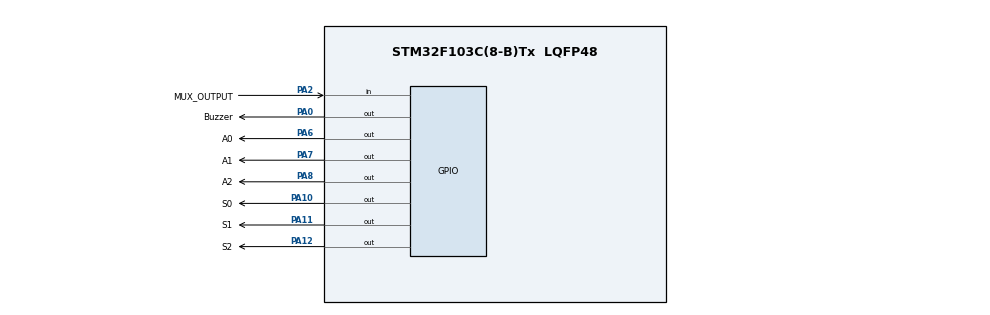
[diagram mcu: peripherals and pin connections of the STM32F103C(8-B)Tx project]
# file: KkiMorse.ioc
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Mcu.Family=STM32F1
Mcu.Name=STM32F103C(8-B)Tx
Mcu.Package=LQFP48
NVIC.PriorityGroup=NVIC_PRIORITYGROUP_4
PA0-WKUP.GPIO_Label=Buzzer
PA0-WKUP.Signal=GPIO_Output
PA10.GPIO_Label=S0
PA10.Signal=GPIO_Output
PA11.GPIO_Label=S1
PA11.Signal=GPIO_Output
PA12.GPIO_Label=S2
PA12.Signal=GPIO_Output
PA2.GPIO_Label=MUX_OUTPUT
PA2.Signal=GPIO_Input
PA6.GPIO_Label=A0
PA6.Signal=GPIO_Output
PA7.GPIO_Label=A1
PA7.Signal=GPIO_Output
PA8.GPIO_Label=A2
PA8.Signal=GPIO_Output
ProjectManager.HeapSize=0x200
ProjectManager.StackSize=0x400
ProjectManager.TargetToolchain=STM32CubeIDE
RCC.APB1Freq_Value=8000000
RCC.APB2Freq_Value=8000000
board=custom

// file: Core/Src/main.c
/* USER CODE BEGIN Header */
/**
  ******************************************************************************
  * @file           : main.c
  * @brief          : Main program body
  ******************************************************************************
  * @attention
  *
  * Copyright (c) 2024 STMicroelectronics.
  * All rights reserved.
  *
  * This software is licensed under terms that can be found in the LICENSE file
  * in the root directory of this software component.
  * If no LICENSE file comes with this software, it is provided AS-IS.
  *
  ******************************************************************************
  */
/* USER CODE END Header */
#include "main.h"

/* USER CODE BEGIN PD */

#define BUFFERLENGTH 256

#define NCOLUMNS 6
#define NLINES 6

#define ENTERKEYBINDING 35
#define SPACEKEYBINDING 32 //TODO

#define SLEEPDURATION 5

#define MORSEUNITDURATION 300 // IN MS

/* USER CODE END PD */

/* USER CODE BEGIN PV */

char buffer[BUFFERLENGTH]; // buffer for holding the letters

/* USER CODE END PV */

void SystemClock_Config(void);
static void MX_GPIO_Init(void);

/* USER CODE BEGIN 0 */

int read_mux_output()
{
	// returns value from MUX OUTPUT PIN
	return HAL_GPIO_ReadPin(GPIOA, MUX_OUTPUT_Pin);
}

int setColumn(int columnNumber)
{
	// sets the column where a signal is sent through the demux
	// should change A0, A1, A2 state
	if (columnNumber < 0 || columnNumber > 5) //column selected is out of bounds
		return -1;

	HAL_GPIO_WritePin(GPIOA, A0_Pin, columnNumber % 2);
	HAL_GPIO_WritePin(GPIOA, A1_Pin, columnNumber >> 1 % 2);
	HAL_GPIO_WritePin(GPIOA, A2_Pin, columnNumber >> 2 % 2);

	return 0;
}

int setLine(int lineNumber)
{
	// sets the listened line where a signal is read through the MUX
	// should affect S0, S1, S2 state
	if (lineNumber < 0 || lineNumber > 5) //line selected is out of bounds
		return -1;

	HAL_GPIO_WritePin(GPIOA, S0_Pin, lineNumber % 2);
	HAL_GPIO_WritePin(GPIOA, S1_Pin, lineNumber >> 1 % 2);
	HAL_GPIO_WritePin(GPIOA, S2_Pin, lineNumber >> 2 % 2);

	return 0;
}

void beepBuzzer(int msDuration)
{
	HAL_GPIO_WritePin(GPIOA, Buzzer_Pin, 1);
	HAL_Delay(msDuration);
	HAL_GPIO_WritePin(GPIOA, Buzzer_Pin, 0);
	HAL_Delay(MORSEUNITDURATION);

}

void readLetter(char letter)
{
	// letter: position in the keyboard

	// character: 1 for short, 2 for short, 0 for end
	char letters[32][5] = {
	    {1, 2, 0, 0, 0},  // A: .-
	    {2, 1, 1, 1, 0},  // B: -...
	    {2, 1, 2, 1, 0},  // C: -.-.
	    {2, 1, 1, 0, 0},  // D: -..
	    {1, 0, 0, 0, 0},  // E: .
	    {1, 1, 2, 1, 0},  // F: ..-.
	    {2, 2, 1, 0, 0},  // G: --.
	    {1, 1, 1, 1, 0},  // H: ....
	    {1, 1, 0, 0, 0},  // I: ..
	    {1, 2, 2, 2, 0},  // J: .---
	    {2, 1, 2, 0, 0},  // K: -.-
	    {1, 2, 1, 1, 0},  // L: .-..
	    {2, 2, 0, 0, 0},  // M: --
	    {2, 1, 0, 0, 0},  // N: -.
	    {2, 2, 2, 0, 0},  // O: ---
	    {1, 2, 2, 1, 0},  // P: .--.
	    {2, 2, 1, 2, 0},  // Q: --.-
	    {1, 2, 1, 0, 0},  // R: .-.
	    {1, 1, 1, 0, 0},  // S: ...
	    {2, 0, 0, 0, 0},  // T: -
	    {1, 1, 2, 0, 0},  // U: ..-
	    {1, 1, 1, 2, 0},  // V: ...-
	    {1, 2, 2, 0, 0},  // W: .--
	    {2, 1, 1, 2, 0},  // X: -..-
	    {2, 1, 2, 2, 0},  // Y: -.--
	    {2, 2, 1, 1, 0},  // Z: --..
	    {0, 0, 0, 0, 0},  // Padding to make array length 32
	    {0, 0, 0, 0, 0},  // Padding to make array length 32
	    {0, 0, 0, 0, 0},  // Padding to make array length 32
	    {0, 0, 0, 0, 0},  // Padding to make array length 32
	    {0, 0, 0, 0, 0},  // Padding to make array length 32
	    {0, 0, 0, 0, 0},  // Padding to make array length 32
	    {0, 0, 0, 0, 0},  // Padding to make array length 32
	    {0, 0, 0, 0, 0}   // Padding to make array length 32
	};

	  if(letter == SPACEKEYBINDING)
	  {
		  HAL_Delay(7 * MORSEUNITDURATION); // gap between words
		  return;
	  }

	for(int i = 0; i < 5; i++)
	{
		if(letters[letter][i] == 0) //end of the word
		{
			return;
		}

		if(letters[letter][i] == 1) // dot
		{
			beepBuzzer(MORSEUNITDURATION);
		}
		else
		{
			beepBuzzer(MORSEUNITDURATION * 3);
		}
	}

	HAL_Delay(3 * MORSEUNITDURATION); // gap between letters

}

void readBuffer(int bufferCursor)
{
	for(int i = 0; i < bufferCursor; i++)
	{
		// read each character (buffer[i])
		readLetter(buffer[i]);

	}
}

void clearBuffer(int bufferCursor){
	  for(int i = 0; i < bufferCursor && i < BUFFERLENGTH; i++)
	  {
		  buffer[i] = 0;
	  }
}

/* USER CODE END 0 */

int main(void)
{

  /* MCU Configuration--------------------------------------------------------*/

  /* Reset of all peripherals, Initializes the Flash interface and the Systick. */
  HAL_Init();

  /* USER CODE BEGIN Init */

  int bufferCursor = 0;

  clearBuffer(BUFFERLENGTH);

  char keyPressed;

  /* USER CODE END Init */

  /* Configure the system clock */
  SystemClock_Config();

  /* Initialize all configured peripherals */
  MX_GPIO_Init();

  /* Infinite loop */
  while (1)
  {

	  for(int column = 0; column < NCOLUMNS; column++)
	  {
		  setColumn(column);
		  for(int line = 0; line < NLINES; line++)
		  {
			  setLine(line);

			  HAL_Delay(SLEEPDURATION);
			  if(read_mux_output()) //key is pressed
			  {
				  keyPressed = column + line * NLINES;
				  if(keyPressed == ENTERKEYBINDING) // we should read the buffer and bip the buzzer
				  {
					  readBuffer(bufferCursor);
					  clearBuffer(bufferCursor);
					  bufferCursor = 0;

				  }
				  else
				  {
					  buffer[bufferCursor] = keyPressed;
					  bufferCursor++;
				  }

			  }
		  }
	  }

  }
}

void SystemClock_Config(void)
{
  RCC_OscInitTypeDef RCC_OscInitStruct = {0};
  RCC_ClkInitTypeDef RCC_ClkInitStruct = {0};

  /** Initializes the RCC Oscillators according to the specified parameters
  * in the RCC_OscInitTypeDef structure.
  */
  RCC_OscInitStruct.OscillatorType = RCC_OSCILLATORTYPE_HSI;
  RCC_OscInitStruct.HSIState = RCC_HSI_ON;
  RCC_OscInitStruct.HSICalibrationValue = RCC_HSICALIBRATION_DEFAULT;
  RCC_OscInitStruct.PLL.PLLState = RCC_PLL_NONE;
  if (HAL_RCC_OscConfig(&RCC_OscInitStruct) != HAL_OK)
  {
    Error_Handler();
  }

  /** Initializes the CPU, AHB and APB buses clocks
  */
  RCC_ClkInitStruct.ClockType = RCC_CLOCKTYPE_HCLK|RCC_CLOCKTYPE_SYSCLK
                              |RCC_CLOCKTYPE_PCLK1|RCC_CLOCKTYPE_PCLK2;
  RCC_ClkInitStruct.SYSCLKSource = RCC_SYSCLKSOURCE_HSI;
  RCC_ClkInitStruct.AHBCLKDivider = RCC_SYSCLK_DIV1;
  RCC_ClkInitStruct.APB1CLKDivider = RCC_HCLK_DIV1;
  RCC_ClkInitStruct.APB2CLKDivider = RCC_HCLK_DIV1;

  if (HAL_RCC_ClockConfig(&RCC_ClkInitStruct, FLASH_LATENCY_0) != HAL_OK)
  {
    Error_Handler();
  }
}

static void MX_GPIO_Init(void)
{
  GPIO_InitTypeDef GPIO_InitStruct = {0};

  /* GPIO Ports Clock Enable */
  __HAL_RCC_GPIOA_CLK_ENABLE();

  /*Configure GPIO pin Output Level */
  HAL_GPIO_WritePin(GPIOA, Buzzer_Pin|A0_Pin|A1_Pin|A2_Pin
                          |S0_Pin|S1_Pin|S2_Pin, GPIO_PIN_RESET);

  /*Configure GPIO pins : Buzzer_Pin A0_Pin A1_Pin A2_Pin
                           S0_Pin S1_Pin S2_Pin */
  GPIO_InitStruct.Pin = Buzzer_Pin|A0_Pin|A1_Pin|A2_Pin
                          |S0_Pin|S1_Pin|S2_Pin;
  GPIO_InitStruct.Mode = GPIO_MODE_OUTPUT_PP;
  GPIO_InitStruct.Pull = GPIO_NOPULL;
  GPIO_InitStruct.Speed = GPIO_SPEED_FREQ_LOW;
  HAL_GPIO_Init(GPIOA, &GPIO_InitStruct);

  /*Configure GPIO pin : MUX_OUTPUT_Pin */
  GPIO_InitStruct.Pin = MUX_OUTPUT_Pin;
  GPIO_InitStruct.Mode = GPIO_MODE_INPUT;
  GPIO_InitStruct.Pull = GPIO_NOPULL;
  HAL_GPIO_Init(MUX_OUTPUT_GPIO_Port, &GPIO_InitStruct);

}

void Error_Handler(void)
{
  __disable_irq();
  while (1)
  {
  }
}
